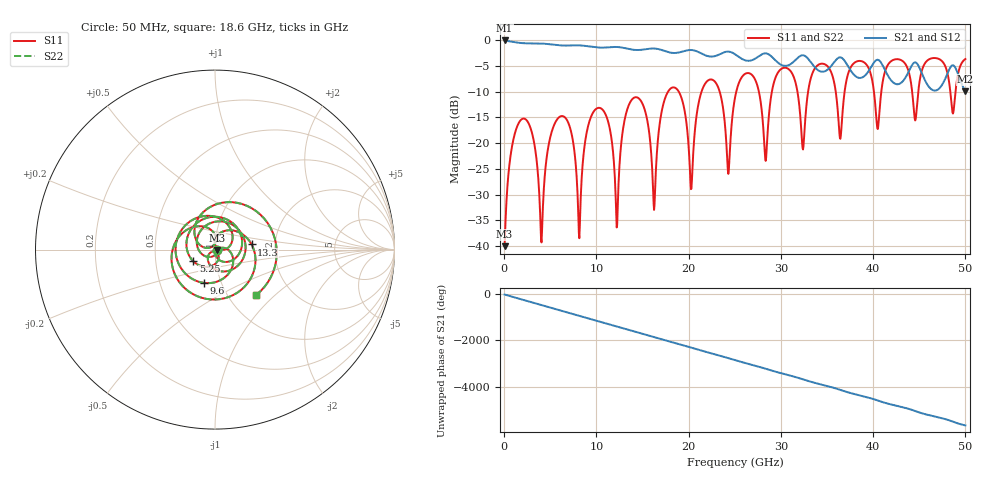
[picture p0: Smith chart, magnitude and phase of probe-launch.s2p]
# Hz S RI R 50.0
!freq ReS11 ImS11 ReS21 ImS21 ReS12 ImS12 ReS22 ImS22
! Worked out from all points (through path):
!   1000 points, 50 MHz to 50 GHz, reference 50 ohm
!   highest |S21| = -0.09 dB at 50 MHz (marker M1); lowest = -9.9 dB at 50 GHz (marker M2)
!   group delay of S21, straight-line fit = 315 ps
!   lowest |S11| = -40.0 dB at 50 MHz (marker M3), VSWR 1.02, Z = 51 - j0.238 ohm
!   |S11| at or under -10 dB: start of sweep to 17.77 GHz; 18.92 GHz to 21.4 GHz (2.479 GHz wide, 12.3 % of centre); 23.36 GHz to 25.16 GHz (1.806 GHz wide, 7.44 % of centre)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
!   |S22| runs from -40.0 to -3.5 dB; largest |S21 - S12| = 4.2e-14
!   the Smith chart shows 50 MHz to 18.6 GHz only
!   S11 on the Smith chart (normalised r, x): 50 MHz: 1.02, -0.00; 5.25 GHz: 0.78, -0.10; 9.6 GHz: 0.83, -0.32; 13.3 GHz: 1.51, +0.09; 18.6 GHz: 1.35, -0.77
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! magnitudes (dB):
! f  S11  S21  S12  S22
! 50 MHz  -40.0  -0.1  -0.1  -40.0
! 1.5 GHz  -16.4  -0.5  -0.5  -16.4
! 4.05 GHz  -39.3  -0.7  -0.7  -39.3
! 5.25 GHz  -17.3  -0.9  -0.9  -17.3
! 8.4 GHz  -26.9  -1.1  -1.1  -26.9
! 9.6 GHz  -14.2  -1.4  -1.4  -14.2
! 12.2 GHz  -36.3  -1.4  -1.4  -36.3
! 13.3 GHz  -13.7  -1.7  -1.7  -13.7
! 16.7 GHz  -18.8  -1.8  -1.8  -18.8
! 18.6 GHz  -9.3  -2.5  -2.5  -9.3
! 20.25 GHz  -28.9  -1.9  -1.9  -28.9
! 21.75 GHz  -8.6  -2.9  -2.9  -8.6
! 24.3 GHz  -26.0  -2.3  -2.3  -26.0
! 25.05 GHz  -11.0  -2.8  -2.8  -11.0
! 27.05 GHz  -7.2  -3.8  -3.8  -7.2
! 28.35 GHz  -23.4  -2.6  -2.6  -23.4
! 30.7 GHz  -5.5  -5.0  -5.0  -5.5
! 32.4 GHz  -21.2  -3.0  -3.0  -21.2
! 33.35 GHz  -6.8  -4.6  -4.6  -6.8
! 36.45 GHz  -19.2  -3.4  -3.4  -19.2
! 41.7 GHz  -4.6  -7.2  -7.2  -4.6
! 50 GHz  -3.7  -9.9  -9.9  -3.7
